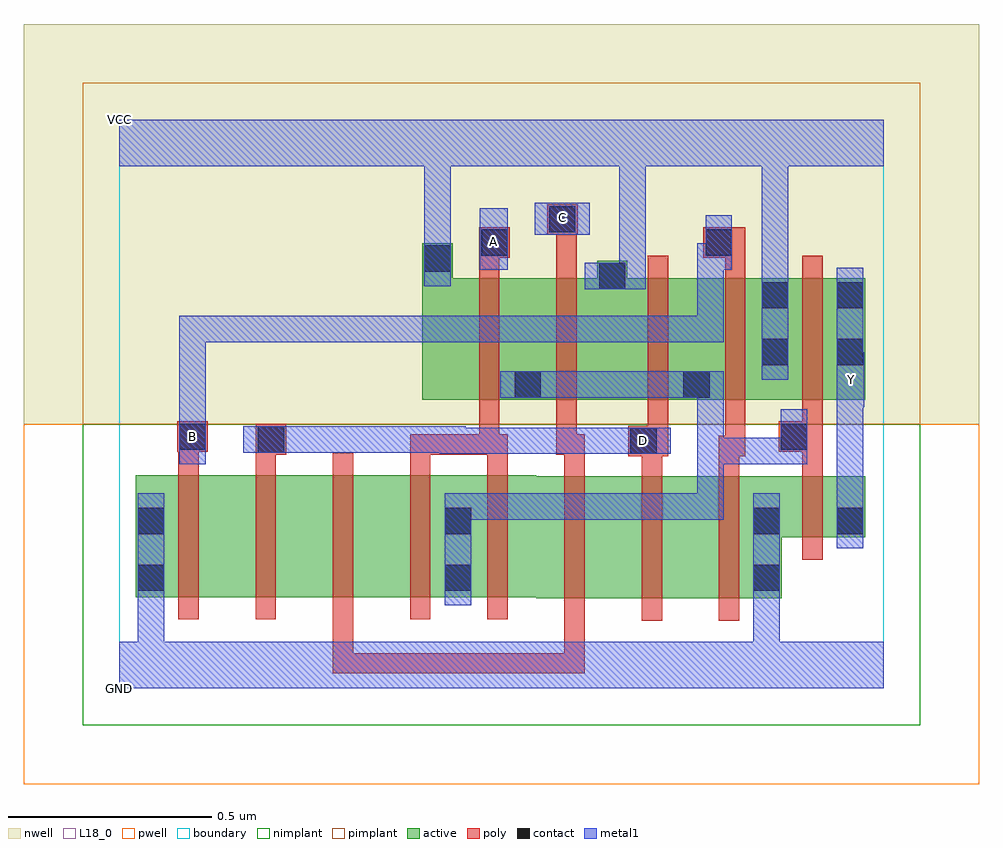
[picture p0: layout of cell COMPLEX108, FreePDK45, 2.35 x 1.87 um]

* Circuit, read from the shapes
.subckt COMPLEX108 A B C D GND VCC Y
M1 n1 B GND VSUBS nfet w=0.3u l=0.05u
M2 n2 D n1 VSUBS nfet w=0.3u l=0.05u
M3 n3 C n2 VSUBS nfet w=0.3u l=0.05u
M4 n4 A n3 VSUBS nfet w=0.3u l=0.05u
M5 n5 A n4 VSUBS nfet w=0.3u l=0.05u
M6 n6 C n5 VSUBS nfet w=0.3u l=0.05u
M7 n7 D n6 VSUBS nfet w=0.3u l=0.05u
M8 GND B n7 VSUBS nfet w=0.3u l=0.05u
M9 Y n4 GND VSUBS nfet w=0.15u l=0.05u
M10 n4 A VCC n8 pfet w=0.3u l=0.05u
M11 VCC C n4 n8 pfet w=0.3u l=0.05u
M12 n4 D VCC n8 pfet w=0.3u l=0.05u
M13 VCC B n4 n8 pfet w=0.3u l=0.05u
M14 Y n4 VCC n8 pfet w=0.3u l=0.05u
.ends

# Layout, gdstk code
import gdstk
lib = gdstk.Library(unit=1e-6, precision=1e-09)
def R(c, l, rs):  # rectangles x0, y0, x1, y1
    for r in rs: c.add(gdstk.rectangle(r[:2], r[2:], *l))
def A(c, l, x, y, w, h, nx, ny, dx, dy):  # array of equal rectangles
    R(c, l, [(x+i*dx, y+j*dy, x+i*dx+w, y+j*dy+h) for i in range(nx) for j in range(ny)])
active = (1, 0)
pwell = (2, 0)
nwell = (3, 0)
nimplant = (4, 0)
pimplant = (5, 0)
poly = (9, 0)
contact = (10, 0)
metal1 = (11, 0)
L18_0 = (18, 0)
boundary = (235, 0)

complex108 = lib.new_cell('COMPLEX108')
R(complex108, active, [(1.025,0.222,1.215,0.522), (1.215,0.222,1.405,0.522), (1.405,0.222,1.63,0.522), (1.555,0.222,1.63,0.45), (0.04,0.225,0.265,0.525), (0.04,0.225,0.115,0.525), (0.265,0.225,0.455,0.525), (0.455,0.225,0.645,0.525), (0.645,0.225,0.87,0.525), (0.795,0.225,1.025,0.525), (0.795,0.225,0.87,0.525), (1.555,0.372,1.835,0.522), (1.76,0.372,1.835,0.522), (0.745,0.71,1.042,1.01), (0.745,0.71,0.82,1.095), (0.967,0.71,1.25,1.01), (0.967,0.71,1.042,0.937), (1.175,0.71,1.457,1.01), (1.382,0.71,1.457,1.005), (1.382,0.71,1.65,1.01), (1.575,0.71,1.835,1.01), (1.575,0.71,1.65,1.005), (1.76,0.71,1.835,1.01), (1.175,0.867,1.25,1.052)])
R(complex108, pwell, [(-0.235,-0.235,2.115,0.65)])
R(complex108, nwell, [(-0.235,0.65,2.115,1.635)])
R(complex108, nimplant, [(-0.09,-0.09,1.97,0.65)])
R(complex108, pimplant, [(-0.09,0.65,1.97,1.49)])
A(complex108, poly, 1.095, 0.167, 0.05, 0.41, 3, 1, 0.19, 0)
A(complex108, poly, 0.145, 0.17, 0.05, 0.41, 5, 1, 0.19, 0)
A(complex108, poly, 1.3, 0.655, 0.05, 0.41, 3, 1, 0.19, 0)
R(complex108, poly, [(0.525,0.037,0.575,0.087), (0.525,0.037,0.575,0.087), (0.525,0.037,0.575,0.087), (0.525,0.037,0.707,0.087), (0.525,0.037,0.575,0.22), (0.657,0.037,0.707,0.087), (0.657,0.037,0.707,0.087), (0.657,0.037,0.707,0.087), (0.657,0.037,0.97,0.087), (0.92,0.037,1.145,0.087), (0.92,0.037,0.97,0.087), (0.92,0.037,0.97,0.087), (0.92,0.037,0.97,0.087), (1.095,0.037,1.145,0.217), (1.095,0.037,1.145,0.087), (1.68,0.317,1.73,0.577), (1.095,0.527,1.145,0.625), (1.285,0.527,1.335,0.622), (1.475,0.527,1.525,0.622), (1.68,0.527,1.73,0.632), (0.145,0.53,0.195,0.632), (0.335,0.53,0.385,0.625), (0.715,0.53,0.765,0.625), (0.905,0.53,0.955,0.625), (1.252,0.572,1.35,0.647), (1.475,0.572,1.54,0.622), (1.49,0.572,1.54,0.705), (0.335,0.575,0.41,0.65), (0.715,0.575,0.765,0.625), (0.715,0.575,0.765,0.625), (0.715,0.575,0.765,0.625), (0.715,0.575,0.935,0.625), (0.885,0.575,0.935,0.705), (0.885,0.575,0.955,0.625), (1.075,0.575,1.125,0.705), (1.075,0.575,1.145,0.625), (0.142,0.582,0.217,0.657), (1.622,0.582,1.73,0.657), (1.3,0.597,1.35,0.705), (1.68,0.607,1.73,0.705), (0.885,0.655,0.935,1.065), (1.075,0.655,1.125,1.065), (0.885,1.015,0.935,1.11), (1.075,1.015,1.125,1.167), (1.49,1.015,1.54,1.11), (0.885,1.06,0.96,1.135), (1.437,1.06,1.54,1.135), (1.052,1.117,1.127,1.192)])
R(complex108, contact, [(0.045,0.24,0.11,0.305), (0.8,0.24,0.865,0.305), (1.56,0.24,1.625,0.305), (0.045,0.38,0.11,0.445), (0.8,0.38,0.865,0.445), (1.56,0.38,1.625,0.445), (1.765,0.38,1.83,0.445), (1.257,0.577,1.322,0.642), (0.34,0.58,0.405,0.645), (0.147,0.587,0.212,0.652), (1.627,0.587,1.692,0.652), (0.972,0.715,1.037,0.78), (1.387,0.715,1.452,0.78), (1.58,0.795,1.645,0.86), (1.765,0.795,1.83,0.86), (1.58,0.935,1.645,1), (1.765,0.935,1.83,1), (1.18,0.982,1.245,1.047), (0.75,1.025,0.815,1.09), (0.89,1.065,0.955,1.13), (1.442,1.065,1.507,1.13), (1.057,1.122,1.122,1.187)])
R(complex108, metal1, [(0,0,1.88,0.115), (0.045,0.05,0.11,0.115), (0.045,0.05,0.11,0.115), (0.045,0.05,0.11,0.27), (1.56,0.05,1.625,0.115), (1.56,0.05,1.625,0.115), (1.56,0.05,1.625,0.27), (0.045,0.205,0.11,0.27), (0.045,0.205,0.11,0.27), (0.045,0.205,0.11,0.48), (0.8,0.205,0.865,0.48), (1.56,0.205,1.625,0.27), (1.56,0.205,1.625,0.27), (1.56,0.205,1.625,0.48), (1.765,0.345,1.83,0.48), (0.8,0.415,0.865,0.48), (0.8,0.415,0.865,0.48), (0.8,0.415,1.002,0.48), (0.937,0.415,1.002,0.48), (0.937,0.415,1.002,0.48), (0.937,0.415,1.002,0.48), (0.937,0.415,1.28,0.48), (1.215,0.415,1.28,0.48), (1.215,0.415,1.37,0.48), (1.305,0.415,1.37,0.48), (1.305,0.415,1.487,0.48), (1.422,0.415,1.487,0.48), (1.422,0.415,1.487,0.617), (1.765,0.415,1.83,0.757), (0.147,0.552,0.212,0.687), (1.422,0.552,1.487,0.617), (1.422,0.552,1.507,0.617), (1.422,0.552,1.487,0.78), (1.442,0.552,1.507,0.617), (1.442,0.552,1.692,0.617), (1.627,0.552,1.692,0.617), (1.627,0.552,1.692,0.617), (1.627,0.552,1.692,0.687), (0.787,0.577,1.072,0.642), (0.787,0.577,0.852,0.645), (1.007,0.577,1.072,0.642), (1.007,0.577,1.072,0.642), (1.007,0.577,1.072,0.642), (1.007,0.577,1.21,0.642), (1.145,0.577,1.21,0.642), (1.145,0.577,1.287,0.642), (1.222,0.577,1.357,0.642), (0.305,0.58,0.44,0.645), (0.375,0.58,0.44,0.645), (0.375,0.58,0.44,0.645), (0.375,0.58,0.577,0.645), (0.512,0.58,0.577,0.645), (0.512,0.58,0.577,0.645), (0.512,0.58,0.577,0.645), (0.512,0.58,0.715,0.645), (0.65,0.58,0.715,0.645), (0.65,0.58,0.715,0.645), (0.65,0.58,0.715,0.645), (0.65,0.58,0.852,0.645), (0.147,0.622,0.212,0.687), (0.147,0.622,0.212,0.687), (0.147,0.622,0.212,0.917), (1.765,0.692,1.832,0.827), (0.937,0.715,1.072,0.78), (1.007,0.715,1.072,0.78), (1.007,0.715,1.072,0.78), (1.007,0.715,1.28,0.78), (1.215,0.715,1.28,0.78), (1.215,0.715,1.295,0.78), (1.23,0.715,1.295,0.78), (1.23,0.715,1.417,0.78), (1.352,0.715,1.487,0.78), (1.58,0.76,1.645,1.035), (1.765,0.76,1.83,0.825), (1.765,0.76,1.83,1.035), (0.147,0.852,0.212,0.917), (0.147,0.852,0.35,0.917), (0.285,0.852,0.35,0.917), (0.285,0.852,0.35,0.917), (0.285,0.852,0.35,0.917), (0.285,0.852,0.577,0.917), (0.512,0.852,0.577,0.917), (0.512,0.852,0.577,0.917), (0.512,0.852,0.577,0.917), (0.512,0.852,0.715,0.917), (0.65,0.852,0.715,0.917), (0.65,0.852,0.715,0.917), (0.65,0.852,0.715,0.917), (0.65,0.852,0.715,0.917), (0.65,0.852,0.715,0.917), (0.65,0.852,0.865,0.917), (0.8,0.852,0.865,0.917), (0.8,0.852,1.072,0.917), (1.007,0.852,1.072,0.917), (1.007,0.852,1.072,0.917), (1.007,0.852,1.072,0.917), (1.007,0.852,1.28,0.917), (1.215,0.852,1.28,0.917), (1.215,0.852,1.37,0.917), (1.305,0.852,1.37,0.917), (1.305,0.852,1.487,0.917), (1.422,0.852,1.487,0.917), (1.422,0.852,1.487,1.095), (1.58,0.97,1.645,1.35), (1.145,0.982,1.295,1.047), (1.23,0.982,1.295,1.35), (0.75,0.99,0.815,1.125), (0.887,1.03,0.955,1.182), (1.422,1.03,1.487,1.095), (1.422,1.03,1.487,1.095), (1.422,1.03,1.487,1.095), (1.422,1.03,1.507,1.095), (1.442,1.03,1.507,1.165), (0.75,1.06,0.815,1.35), (1.022,1.117,1.157,1.195), (0,1.285,1.88,1.4), (0.75,1.285,0.815,1.35), (0.75,1.285,0.815,1.35), (0.75,1.285,0.815,1.35), (0.75,1.285,0.815,1.35), (1.23,1.285,1.295,1.35), (1.23,1.285,1.295,1.35), (1.23,1.285,1.295,1.35), (1.23,1.285,1.295,1.35), (1.58,1.285,1.645,1.35), (1.58,1.285,1.645,1.35), (1.58,1.285,1.645,1.35), (1.58,1.285,1.645,1.35)])
R(complex108, L18_0, [(0,0,1.88,0.115), (0.045,0.05,0.11,0.115), (0.045,0.05,0.11,0.115), (0.045,0.05,0.11,0.27), (1.56,0.05,1.625,0.115), (1.56,0.05,1.625,0.115), (1.56,0.05,1.625,0.27), (0.045,0.205,0.11,0.27), (0.045,0.205,0.11,0.27), (0.045,0.205,0.11,0.48), (1.56,0.205,1.625,0.27), (1.56,0.205,1.625,0.27), (1.56,0.205,1.625,0.48), (1.765,0.345,1.83,0.48), (1.765,0.415,1.83,0.757), (0.147,0.552,0.212,0.687), (0.787,0.577,0.852,0.645), (0.787,0.577,1.072,0.642), (1.007,0.577,1.072,0.642), (1.007,0.577,1.072,0.642), (1.007,0.577,1.072,0.642), (1.007,0.577,1.21,0.642), (1.145,0.577,1.21,0.642), (1.145,0.577,1.287,0.642), (1.222,0.577,1.357,0.642), (1.257,0.577,1.322,0.642), (0.305,0.58,0.44,0.645), (0.375,0.58,0.44,0.645), (0.375,0.58,0.44,0.645), (0.375,0.58,0.577,0.645), (0.512,0.58,0.577,0.645), (0.512,0.58,0.577,0.645), (0.512,0.58,0.577,0.645), (0.512,0.58,0.715,0.645), (0.65,0.58,0.715,0.645), (0.65,0.58,0.715,0.645), (0.65,0.58,0.715,0.645), (0.65,0.58,0.852,0.645), (0.147,0.587,0.212,0.652), (0.147,0.622,0.212,0.687), (0.147,0.622,0.212,0.687), (0.147,0.622,0.212,0.917), (1.765,0.692,1.832,0.827), (1.767,0.727,1.832,0.792), (1.58,0.76,1.645,1.035), (1.765,0.76,1.83,0.825), (1.765,0.76,1.83,1.035), (0.147,0.852,0.212,0.917), (0.147,0.852,0.35,0.917), (0.285,0.852,0.35,0.917), (0.285,0.852,0.35,0.917), (0.285,0.852,0.35,0.917), (0.285,0.852,0.577,0.917), (0.512,0.852,0.577,0.917), (0.512,0.852,0.577,0.917), (0.512,0.852,0.577,0.917), (0.512,0.852,0.715,0.917), (0.65,0.852,0.715,0.917), (0.65,0.852,0.715,0.917), (0.65,0.852,0.715,0.917), (0.65,0.852,0.715,0.917), (0.65,0.852,0.715,0.917), (0.65,0.852,0.865,0.917), (0.8,0.852,0.865,0.917), (0.8,0.852,1.072,0.917), (1.007,0.852,1.072,0.917), (1.007,0.852,1.072,0.917), (1.007,0.852,1.072,0.917), (1.007,0.852,1.28,0.917), (1.215,0.852,1.28,0.917), (1.215,0.852,1.37,0.917), (1.305,0.852,1.37,0.917), (1.305,0.852,1.487,0.917), (1.422,0.852,1.487,0.917), (1.422,0.852,1.487,1.095), (1.58,0.97,1.645,1.35), (1.145,0.982,1.295,1.047), (1.23,0.982,1.295,1.35), (0.75,0.99,0.815,1.125), (0.887,1.03,0.955,1.182), (1.422,1.03,1.487,1.095), (1.422,1.03,1.487,1.095), (1.422,1.03,1.487,1.095), (1.422,1.03,1.507,1.095), (1.442,1.03,1.507,1.165), (0.75,1.06,0.815,1.35), (0.887,1.067,0.952,1.132), (1.022,1.117,1.157,1.195), (1.057,1.127,1.122,1.192), (0,1.285,1.88,1.4), (0.75,1.285,0.815,1.35), (0.75,1.285,0.815,1.35), (0.75,1.285,0.815,1.35), (0.75,1.285,0.815,1.35), (1.23,1.285,1.295,1.35), (1.23,1.285,1.295,1.35), (1.23,1.285,1.295,1.35), (1.23,1.285,1.295,1.35), (1.58,1.285,1.645,1.35), (1.58,1.285,1.645,1.35), (1.58,1.285,1.645,1.35), (1.58,1.285,1.645,1.35)])
R(complex108, boundary, [(0,0,1.88,1.4)])
complex108.add(gdstk.Label('A', (0.92,1.1), layer=11, texttype=0))
complex108.add(gdstk.Label('B', (0.18,0.62), layer=11, texttype=0))
complex108.add(gdstk.Label('C', (1.09,1.16), layer=11, texttype=0))
complex108.add(gdstk.Label('D', (1.29,0.61), layer=11, texttype=0))
complex108.add(gdstk.Label('Y', (1.8,0.76), layer=11, texttype=0))
complex108.add(gdstk.Label('VCC', (0,1.4), layer=11, texttype=0))
complex108.add(gdstk.Label('GND', (0,0), layer=11, texttype=0))

lib.write_gds('COMPLEX108.gds')
